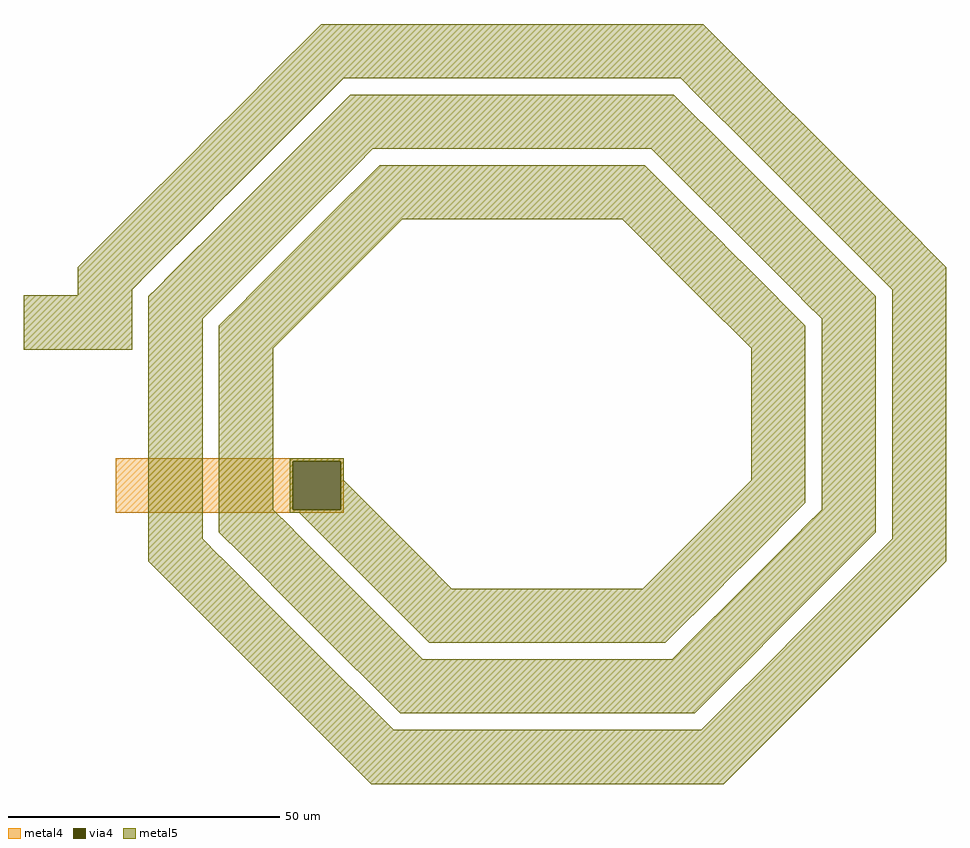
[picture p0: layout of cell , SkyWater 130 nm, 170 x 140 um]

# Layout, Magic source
magic
tech sky130B
magscale 1 2
<< metal4 >>
rect -35900 -22112 -27500 -22000
rect -35900 -23888 -29388 -22112
rect -27612 -23888 -27500 -22112
rect -35900 -24000 -27500 -23888
<< via4 >>
rect -29388 -23888 -27612 -22112
<< metal5 >>
tri -30337 -8000 -28337 -6000 se
rect -28337 -8000 -14263 -6000
tri -14263 -8000 -12263 -6000 sw
tri -31012 -8675 -30337 -8000 se
rect -30337 -8675 -28184 -8000
tri -28184 -8675 -27509 -8000 nw
tri -15091 -8600 -14491 -8000 ne
rect -14491 -8600 -12263 -8000
tri -27336 -8675 -27261 -8600 se
rect -27261 -8675 -15339 -8600
tri -32700 -10363 -31012 -8675 se
rect -31012 -9523 -29032 -8675
tri -29032 -9523 -28184 -8675 nw
tri -28184 -9523 -27336 -8675 se
rect -27336 -9448 -15339 -8675
tri -15339 -9448 -14491 -8600 sw
tri -14491 -9448 -13643 -8600 ne
rect -13643 -9448 -12263 -8600
rect -27336 -9523 -14491 -9448
rect -31012 -10363 -29880 -9523
tri -32928 -10591 -32700 -10363 se
rect -32700 -10371 -29880 -10363
tri -29880 -10371 -29032 -9523 nw
tri -29032 -10371 -28184 -9523 se
rect -28184 -9752 -14491 -9523
tri -14491 -9752 -14187 -9448 sw
tri -13643 -9752 -13339 -9448 ne
rect -13339 -9752 -12263 -9448
rect -28184 -10371 -14187 -9752
rect -32700 -10591 -30109 -10371
tri -35528 -13191 -32928 -10591 se
rect -32928 -10600 -30109 -10591
tri -30109 -10600 -29880 -10371 nw
tri -29261 -10600 -29032 -10371 se
rect -29032 -10600 -14187 -10371
tri -14187 -10600 -13339 -9752 sw
tri -13339 -10600 -12491 -9752 ne
rect -12491 -10600 -12263 -9752
tri -12263 -10600 -9663 -8000 sw
rect -32928 -11439 -30948 -10600
tri -30948 -11439 -30109 -10600 nw
tri -30100 -11439 -29261 -10600 se
rect -29261 -11200 -27032 -10600
tri -27032 -11200 -26432 -10600 nw
tri -16168 -11200 -15568 -10600 ne
rect -15568 -11200 -13339 -10600
rect -29261 -11439 -27880 -11200
rect -32928 -12287 -31796 -11439
tri -31796 -12287 -30948 -11439 nw
tri -30948 -12287 -30100 -11439 se
rect -30100 -12048 -27880 -11439
tri -27880 -12048 -27032 -11200 nw
tri -27032 -12048 -26184 -11200 se
rect -26184 -12048 -16416 -11200
tri -16416 -12048 -15568 -11200 sw
tri -15568 -12048 -14720 -11200 ne
rect -14720 -11448 -13339 -11200
tri -13339 -11448 -12491 -10600 sw
tri -12491 -11448 -11643 -10600 ne
rect -11643 -11448 -9663 -10600
rect -14720 -11504 -12491 -11448
tri -12491 -11504 -12435 -11448 sw
tri -11643 -11504 -11587 -11448 ne
rect -11587 -11504 -9663 -11448
rect -14720 -12048 -12435 -11504
rect -30100 -12287 -28184 -12048
rect -32928 -12352 -31861 -12287
tri -31861 -12352 -31796 -12287 nw
tri -31013 -12352 -30948 -12287 se
rect -30948 -12352 -28184 -12287
tri -28184 -12352 -27880 -12048 nw
tri -27336 -12352 -27032 -12048 se
rect -27032 -12352 -15568 -12048
tri -15568 -12352 -15264 -12048 sw
tri -14720 -12352 -14416 -12048 ne
rect -14416 -12352 -12435 -12048
tri -12435 -12352 -11587 -11504 sw
tri -11587 -12352 -10739 -11504 ne
rect -10739 -12352 -9663 -11504
rect -32928 -13191 -32700 -12352
tri -32700 -13191 -31861 -12352 nw
tri -31852 -13191 -31013 -12352 se
rect -31013 -13191 -29032 -12352
tri -37300 -14963 -35528 -13191 se
rect -35528 -14039 -33548 -13191
tri -33548 -14039 -32700 -13191 nw
tri -32700 -14039 -31852 -13191 se
rect -31852 -13200 -29032 -13191
tri -29032 -13200 -28184 -12352 nw
tri -28184 -13200 -27336 -12352 se
rect -27336 -13200 -15264 -12352
tri -15264 -13200 -14416 -12352 sw
tri -14416 -13200 -13568 -12352 ne
rect -13568 -13200 -11587 -12352
tri -11587 -13200 -10739 -12352 sw
tri -10739 -13200 -9891 -12352 ne
rect -9891 -13200 -9663 -12352
tri -9663 -13200 -7063 -10600 sw
rect -31852 -14039 -29880 -13200
rect -35528 -14268 -33777 -14039
tri -33777 -14268 -33548 -14039 nw
tri -32929 -14268 -32700 -14039 se
rect -32700 -14048 -29880 -14039
tri -29880 -14048 -29032 -13200 nw
tri -29032 -14048 -28184 -13200 se
rect -32700 -14268 -30100 -14048
tri -30100 -14268 -29880 -14048 nw
tri -29252 -14268 -29032 -14048 se
rect -29032 -14268 -28184 -14048
rect -35528 -14963 -34625 -14268
rect -37300 -15116 -34625 -14963
tri -34625 -15116 -33777 -14268 nw
tri -33777 -15116 -32929 -14268 se
rect -32929 -15116 -30948 -14268
tri -30948 -15116 -30100 -14268 nw
tri -30100 -15116 -29252 -14268 se
rect -29252 -15116 -28184 -14268
rect -37300 -16000 -35300 -15116
tri -35300 -15791 -34625 -15116 nw
tri -34452 -15791 -33777 -15116 se
rect -33777 -15791 -31796 -15116
tri -34661 -16000 -34452 -15791 se
rect -34452 -15964 -31796 -15791
tri -31796 -15964 -30948 -15116 nw
tri -30948 -15964 -30100 -15116 se
rect -30100 -15964 -28184 -15116
rect -34452 -16000 -32100 -15964
rect -39300 -18000 -35300 -16000
tri -34700 -16039 -34661 -16000 se
rect -34661 -16039 -32100 -16000
rect -34700 -16268 -32100 -16039
tri -32100 -16268 -31796 -15964 nw
tri -31252 -16268 -30948 -15964 se
rect -30948 -16029 -28184 -15964
tri -28184 -16029 -25355 -13200 nw
tri -17245 -16029 -14416 -13200 ne
tri -14416 -14048 -13568 -13200 sw
tri -13568 -14048 -12720 -13200 ne
rect -12720 -14048 -10739 -13200
tri -10739 -14048 -9891 -13200 sw
tri -9891 -14048 -9043 -13200 ne
rect -9043 -14048 -7063 -13200
rect -14416 -14268 -13568 -14048
tri -13568 -14268 -13348 -14048 sw
tri -12720 -14268 -12500 -14048 ne
rect -12500 -14268 -9891 -14048
tri -9891 -14268 -9671 -14048 sw
tri -9043 -14268 -8823 -14048 ne
rect -8823 -14268 -7063 -14048
rect -14416 -15116 -13348 -14268
tri -13348 -15116 -12500 -14268 sw
tri -12500 -15116 -11652 -14268 ne
rect -11652 -15116 -9671 -14268
tri -9671 -15116 -8823 -14268 sw
tri -8823 -15116 -7975 -14268 ne
rect -7975 -14963 -7063 -14268
tri -7063 -14963 -5300 -13200 sw
rect -7975 -15116 -5300 -14963
rect -14416 -15964 -12500 -15116
tri -12500 -15964 -11652 -15116 sw
tri -11652 -15964 -10804 -15116 ne
rect -10804 -15791 -8823 -15116
tri -8823 -15791 -8148 -15116 sw
tri -7975 -15791 -7300 -15116 ne
rect -10804 -15964 -8148 -15791
rect -14416 -16029 -11652 -15964
rect -30948 -16268 -30100 -16029
rect -34700 -25571 -32700 -16268
tri -32700 -16868 -32100 -16268 nw
tri -32100 -17116 -31252 -16268 se
rect -31252 -17116 -30100 -16268
rect -32100 -24494 -30100 -17116
tri -30100 -17945 -28184 -16029 nw
tri -14416 -17945 -12500 -16029 ne
rect -12500 -16268 -11652 -16029
tri -11652 -16268 -11348 -15964 sw
tri -10804 -16268 -10500 -15964 ne
rect -10500 -16039 -8148 -15964
tri -8148 -16039 -7900 -15791 sw
rect -10500 -16268 -7900 -16039
rect -12500 -17116 -11348 -16268
tri -11348 -17116 -10500 -16268 sw
tri -10500 -16868 -9900 -16268 ne
rect -29500 -22112 -27500 -22000
rect -29500 -23888 -29388 -22112
rect -27612 -23888 -27500 -22112
tri -30100 -24494 -29500 -23894 sw
rect -29500 -24000 -27500 -23888
rect -32100 -24722 -29500 -24494
tri -32700 -25571 -32100 -24971 sw
tri -32100 -25571 -31251 -24722 ne
rect -31251 -24796 -29500 -24722
tri -29500 -24796 -29198 -24494 sw
tri -29145 -24796 -28349 -24000 ne
rect -28349 -24796 -27500 -24000
rect -31251 -25571 -29198 -24796
rect -34700 -25645 -32100 -25571
tri -32100 -25645 -32026 -25571 sw
tri -31251 -25645 -31177 -25571 ne
rect -31177 -25645 -29198 -25571
tri -29198 -25645 -28349 -24796 sw
tri -28349 -25645 -27500 -24796 ne
tri -27500 -25645 -24672 -22817 sw
tri -13655 -23972 -12500 -22817 se
rect -12500 -23645 -10500 -17116
rect -12500 -23972 -11349 -23645
tri -15328 -25645 -13655 -23972 se
rect -13655 -24494 -11349 -23972
tri -11349 -24494 -10500 -23645 nw
tri -10500 -24494 -9900 -23894 se
rect -9900 -24494 -7900 -16268
rect -13655 -24796 -11651 -24494
tri -11651 -24796 -11349 -24494 nw
tri -10802 -24796 -10500 -24494 se
rect -10500 -24722 -7900 -24494
rect -10500 -24796 -8749 -24722
rect -13655 -25645 -12500 -24796
tri -12500 -25645 -11651 -24796 nw
tri -11651 -25645 -10802 -24796 se
rect -10802 -25571 -8749 -24796
tri -8749 -25571 -7900 -24722 nw
tri -7900 -25571 -7300 -24971 se
rect -7300 -25571 -5300 -15116
rect -10802 -25645 -8823 -25571
tri -8823 -25645 -8749 -25571 nw
tri -7974 -25645 -7900 -25571 se
rect -7900 -25645 -5300 -25571
rect -34700 -25799 -32026 -25645
tri -34700 -26800 -33699 -25799 ne
rect -33699 -26494 -32026 -25799
tri -32026 -26494 -31177 -25645 sw
tri -31177 -26494 -30328 -25645 ne
rect -30328 -26494 -28349 -25645
tri -28349 -26494 -27500 -25645 sw
tri -27500 -26494 -26651 -25645 ne
rect -26651 -26494 -24672 -25645
rect -33699 -26800 -31177 -26494
tri -31177 -26800 -30871 -26494 sw
tri -30328 -26800 -30022 -26494 ne
rect -30022 -26800 -27500 -26494
tri -27500 -26800 -27194 -26494 sw
tri -26651 -26800 -26345 -26494 ne
rect -26345 -26800 -24672 -26494
tri -24672 -26800 -23517 -25645 sw
tri -16483 -26800 -15328 -25645 se
rect -15328 -26494 -13349 -25645
tri -13349 -26494 -12500 -25645 nw
tri -12500 -26494 -11651 -25645 se
rect -11651 -26494 -9672 -25645
tri -9672 -26494 -8823 -25645 nw
tri -8823 -26494 -7974 -25645 se
rect -7974 -25799 -5300 -25645
rect -7974 -26494 -7300 -25799
rect -15328 -26800 -13655 -26494
tri -13655 -26800 -13349 -26494 nw
tri -12806 -26800 -12500 -26494 se
rect -12500 -26722 -9900 -26494
tri -9900 -26722 -9672 -26494 nw
tri -9051 -26722 -8823 -26494 se
rect -8823 -26722 -7300 -26494
rect -12500 -26800 -10749 -26722
tri -33699 -29400 -31099 -26800 ne
rect -31099 -27649 -30871 -26800
tri -30871 -27649 -30022 -26800 sw
tri -30022 -27649 -29173 -26800 ne
rect -29173 -27649 -27194 -26800
tri -27194 -27649 -26345 -26800 sw
tri -26345 -27649 -25496 -26800 ne
rect -25496 -27649 -14504 -26800
tri -14504 -27649 -13655 -26800 nw
tri -13655 -27649 -12806 -26800 se
rect -12806 -27571 -10749 -26800
tri -10749 -27571 -9900 -26722 nw
tri -9900 -27571 -9051 -26722 se
rect -9051 -27571 -7300 -26722
rect -12806 -27649 -10827 -27571
tri -10827 -27649 -10749 -27571 nw
tri -9978 -27649 -9900 -27571 se
rect -9900 -27649 -7300 -27571
rect -31099 -28498 -30022 -27649
tri -30022 -28498 -29173 -27649 sw
tri -29173 -28498 -28324 -27649 ne
rect -28324 -27951 -26345 -27649
tri -26345 -27951 -26043 -27649 sw
tri -25496 -27951 -25194 -27649 ne
rect -25194 -27951 -14806 -27649
tri -14806 -27951 -14504 -27649 nw
tri -13957 -27951 -13655 -27649 se
rect -13655 -27951 -11651 -27649
rect -28324 -28498 -26043 -27951
rect -31099 -28551 -29173 -28498
tri -29173 -28551 -29120 -28498 sw
tri -28324 -28551 -28271 -28498 ne
rect -28271 -28551 -26043 -28498
rect -31099 -29400 -29120 -28551
tri -29120 -29400 -28271 -28551 sw
tri -28271 -29400 -27422 -28551 ne
rect -27422 -28800 -26043 -28551
tri -26043 -28800 -25194 -27951 sw
tri -25194 -28800 -24345 -27951 ne
rect -24345 -28800 -15655 -27951
tri -15655 -28800 -14806 -27951 nw
tri -14806 -28800 -13957 -27951 se
rect -13957 -28473 -11651 -27951
tri -11651 -28473 -10827 -27649 nw
tri -10802 -28473 -9978 -27649 se
rect -9978 -27799 -7300 -27649
tri -7300 -27799 -5300 -25799 nw
rect -9978 -28473 -9900 -27799
rect -13957 -28800 -12500 -28473
rect -27422 -29400 -25194 -28800
tri -25194 -29400 -24594 -28800 sw
tri -15406 -29400 -14806 -28800 se
rect -14806 -29322 -12500 -28800
tri -12500 -29322 -11651 -28473 nw
tri -11651 -29322 -10802 -28473 se
rect -10802 -29322 -9900 -28473
rect -14806 -29400 -13349 -29322
tri -31099 -32000 -28499 -29400 ne
rect -28499 -30249 -28271 -29400
tri -28271 -30249 -27422 -29400 sw
tri -27422 -30249 -26573 -29400 ne
rect -26573 -30171 -13349 -29400
tri -13349 -30171 -12500 -29322 nw
tri -12500 -30171 -11651 -29322 se
rect -11651 -30171 -9900 -29322
rect -26573 -30249 -13655 -30171
rect -28499 -30551 -27422 -30249
tri -27422 -30551 -27120 -30249 sw
tri -26573 -30551 -26271 -30249 ne
rect -26271 -30477 -13655 -30249
tri -13655 -30477 -13349 -30171 nw
tri -12806 -30477 -12500 -30171 se
rect -12500 -30399 -9900 -30171
tri -9900 -30399 -7300 -27799 nw
rect -26271 -30551 -14504 -30477
rect -28499 -31400 -27120 -30551
tri -27120 -31400 -26271 -30551 sw
tri -26271 -31400 -25422 -30551 ne
rect -25422 -31326 -14504 -30551
tri -14504 -31326 -13655 -30477 nw
tri -13655 -31326 -12806 -30477 se
rect -12806 -31326 -12500 -30477
rect -25422 -31400 -14578 -31326
tri -14578 -31400 -14504 -31326 nw
rect -28499 -32000 -26271 -31400
tri -26271 -32000 -25671 -31400 sw
tri -14329 -32000 -13655 -31326 se
rect -13655 -32000 -12500 -31326
tri -28499 -34000 -26499 -32000 ne
rect -26499 -32999 -12500 -32000
tri -12500 -32999 -9900 -30399 nw
rect -26499 -34000 -13501 -32999
tri -13501 -34000 -12500 -32999 nw
<< end >>
